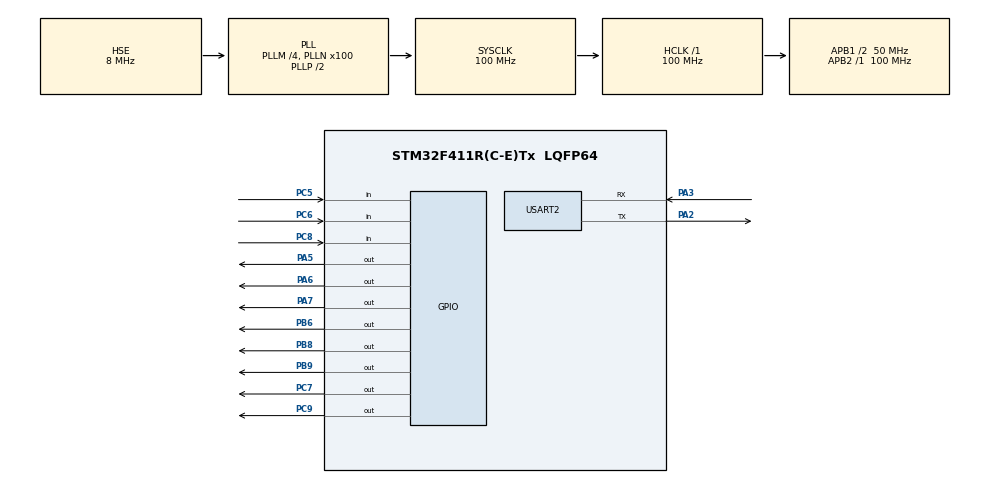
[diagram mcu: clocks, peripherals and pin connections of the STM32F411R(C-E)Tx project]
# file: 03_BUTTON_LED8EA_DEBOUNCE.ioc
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Mcu.Family=STM32F4
Mcu.Name=STM32F411R(C-E)Tx
Mcu.Package=LQFP64
NVIC.PriorityGroup=NVIC_PRIORITYGROUP_4
NVIC.USART2_IRQn=true\:0\:0\:false\:false\:true\:true\:true\:true
PA13.Mode=Serial_Wire
PA13.Signal=SYS_JTMS-SWDIO
PA14.Mode=Serial_Wire
PA14.Signal=SYS_JTCK-SWCLK
PA2.Mode=Asynchronous
PA2.Signal=USART2_TX
PA3.Mode=Asynchronous
PA3.Signal=USART2_RX
PA5.Signal=GPIO_Output
PA6.Signal=GPIO_Output
PA7.Signal=GPIO_Output
PB6.Signal=GPIO_Output
PB8.Signal=GPIO_Output
PB9.Signal=GPIO_Output
PC5.Signal=GPIO_Input
PC6.Signal=GPIO_Input
PC7.Signal=GPIO_Output
PC8.Signal=GPIO_Input
PC9.Signal=GPIO_Output
PH0\ -\ OSC_IN.Mode=HSE-External-Oscillator
PH0\ -\ OSC_IN.Signal=RCC_OSC_IN
PH1\ -\ OSC_OUT.Mode=HSE-External-Oscillator
PH1\ -\ OSC_OUT.Signal=RCC_OSC_OUT
ProjectManager.HeapSize=0x200
ProjectManager.StackSize=0x400
ProjectManager.TargetToolchain=STM32CubeIDE
RCC.48MHZClocksFreq_Value=50000000
RCC.AHBFreq_Value=100000000
RCC.APB1CLKDivider=RCC_HCLK_DIV2
RCC.APB1Freq_Value=50000000
RCC.APB1TimFreq_Value=100000000
RCC.APB2Freq_Value=100000000
RCC.APB2TimFreq_Value=100000000
RCC.CortexFreq_Value=100000000
RCC.HCLKFreq_Value=100000000
RCC.HSE_VALUE=8000000
RCC.HSI_VALUE=16000000
RCC.LSE_VALUE=32768
RCC.PLLM=4
RCC.PLLN=100
RCC.PLLSourceVirtual=RCC_PLLSOURCE_HSE
RCC.SYSCLKFreq_VALUE=100000000
RCC.SYSCLKSource=RCC_SYSCLKSOURCE_PLLCLK
RCC.VCOOutputFreq_Value=200000000
USART2.VirtualMode=VM_ASYNC
board=custom

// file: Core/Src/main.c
/* USER CODE BEGIN Header */
/**
  ******************************************************************************
  * @file           : main.c
  * @brief          : Main program body
  ******************************************************************************
  * @attention
  *
  * Copyright (c) 2025 STMicroelectronics.
  * All rights reserved.
  *
  * This software is licensed under terms that can be found in the LICENSE file
  * in the root directory of this software component.
  * If no LICENSE file comes with this software, it is provided AS-IS.
  *
  ******************************************************************************
  */
/* USER CODE END Header */
#include "main.h"
#include "usart.h"
#include "gpio.h"

/* USER CODE BEGIN Includes */
#include "led.h"
/* USER CODE END Includes */

/* USER CODE BEGIN PD */

#define DEBOUNCE_DELAY  50      // 디바운스 딜레이 50ms

/* USER CODE END PD */

void SystemClock_Config(void);
/* USER CODE BEGIN PFP */

uint32_t millis()     // 32bit형 양의 정수 데이터 반환
{
  return HAL_GetTick();
}

/* USER CODE END PFP */

int main(void)
{

  /* MCU Configuration--------------------------------------------------------*/

  /* Reset of all peripherals, Initializes the Flash interface and the Systick. */
  HAL_Init();

  /* Configure the system clock */
  SystemClock_Config();

  /* Initialize all configured peripherals */
  MX_GPIO_Init();
  MX_USART2_UART_Init();
  /* USER CODE BEGIN 2 */

  uint32_t lastDebounceTime = 0;      // 지역변수라 초기화 해야함
  GPIO_PinState lastButtonState = GPIO_PIN_SET;    // 마지막 버튼 상태

  /* USER CODE END 2 */

  /* Infinite loop */
  /* USER CODE BEGIN WHILE */
  while (1)
  {
    GPIO_PinState currentButtonState = HAL_GPIO_ReadPin(GPIOC, GPIO_PIN_8);

    // 버튼 상태
    if(currentButtonState != lastButtonState)   // 버튼 누름
    {
      // 디바운스 시간까지 잠깐 대기
      if(millis() - lastDebounceTime > DEBOUNCE_DELAY)
      {
        if(currentButtonState == GPIO_PIN_RESET)
        {
          // 버튼이 눌렸을 때 실행 코드
          ledOn(8);
        }
        else
        {
          // 버튼이 안눌렸을 때 실행 코드
          ledOff(8);
        }
        lastDebounceTime = millis();    // 초기화
      }
    }
    lastButtonState = currentButtonState;

    /* USER CODE END WHILE */

  }
}

void SystemClock_Config(void)
{
  RCC_OscInitTypeDef RCC_OscInitStruct = {0};
  RCC_ClkInitTypeDef RCC_ClkInitStruct = {0};

  /** Configure the main internal regulator output voltage
  */
  __HAL_RCC_PWR_CLK_ENABLE();
  __HAL_PWR_VOLTAGESCALING_CONFIG(PWR_REGULATOR_VOLTAGE_SCALE1);

  /** Initializes the RCC Oscillators according to the specified parameters
  * in the RCC_OscInitTypeDef structure.
  */
  RCC_OscInitStruct.OscillatorType = RCC_OSCILLATORTYPE_HSE;
  RCC_OscInitStruct.HSEState = RCC_HSE_ON;
  RCC_OscInitStruct.PLL.PLLState = RCC_PLL_ON;
  RCC_OscInitStruct.PLL.PLLSource = RCC_PLLSOURCE_HSE;
  RCC_OscInitStruct.PLL.PLLM = 4;
  RCC_OscInitStruct.PLL.PLLN = 100;
  RCC_OscInitStruct.PLL.PLLP = RCC_PLLP_DIV2;
  RCC_OscInitStruct.PLL.PLLQ = 4;
  if (HAL_RCC_OscConfig(&RCC_OscInitStruct) != HAL_OK)
  {
    Error_Handler();
  }

  /** Initializes the CPU, AHB and APB buses clocks
  */
  RCC_ClkInitStruct.ClockType = RCC_CLOCKTYPE_HCLK|RCC_CLOCKTYPE_SYSCLK
                              |RCC_CLOCKTYPE_PCLK1|RCC_CLOCKTYPE_PCLK2;
  RCC_ClkInitStruct.SYSCLKSource = RCC_SYSCLKSOURCE_PLLCLK;
  RCC_ClkInitStruct.AHBCLKDivider = RCC_SYSCLK_DIV1;
  RCC_ClkInitStruct.APB1CLKDivider = RCC_HCLK_DIV2;
  RCC_ClkInitStruct.APB2CLKDivider = RCC_HCLK_DIV1;

  if (HAL_RCC_ClockConfig(&RCC_ClkInitStruct, FLASH_LATENCY_3) != HAL_OK)
  {
    Error_Handler();
  }
}

void Error_Handler(void)
{
  __disable_irq();
  while (1)
  {
  }
}
